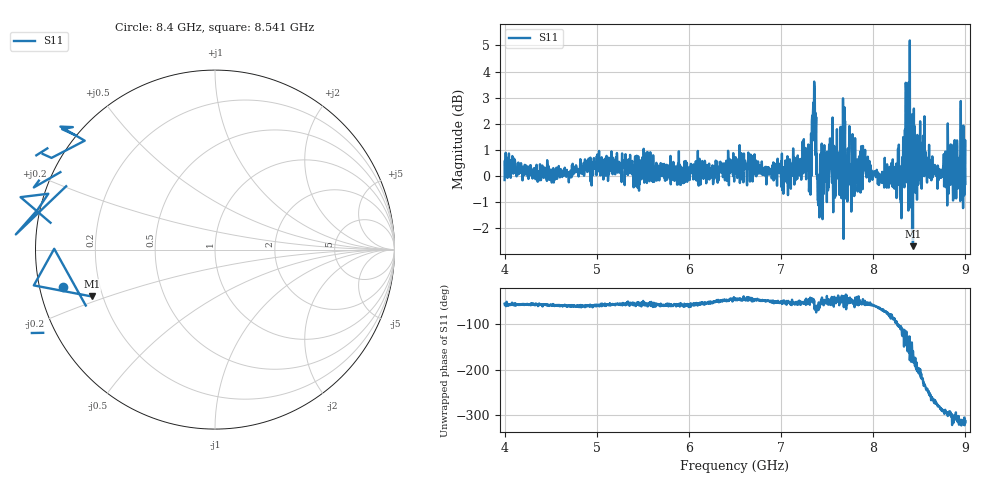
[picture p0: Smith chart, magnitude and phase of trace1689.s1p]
! Created with skrf 1.8.0 (http://scikit-rf.org).
# Hz S RI R 50.0
!freq ReS11 ImS11
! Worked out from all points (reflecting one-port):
!   1601 points, 4 GHz to 9 GHz, reference 50 ohm
!   lowest |S11| = -2.7 dB at 8.431 GHz (marker M1), VSWR 6.53, Z = 7.91 - j8.97 ohm
!   phase of S11 starts at -56 deg and turns -257 deg over the sweep
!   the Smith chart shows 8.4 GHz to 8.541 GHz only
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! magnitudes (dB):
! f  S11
! 4 GHz  -0.2
! 4.062 GHz  0.4
! 4.625 GHz  0.0
! 5.25 GHz  0.2
! 5.875 GHz  0.1
! 6.5 GHz  0.3
! 7.125 GHz  0.1
! 7.297 GHz  0.3
! 7.359 GHz  3.6
! 7.409 GHz  -0.2
! 7.538 GHz  0.5
! 7.591 GHz  0.4
! 7.669 GHz  0.1
! 7.703 GHz  0.1
! 7.75 GHz  0.1
! 7.769 GHz  -0.2
! 7.894 GHz  0.2
! 8.075 GHz  -0.1
! 8.312 GHz  0.2
! 8.334 GHz  -0.3
! 8.375 GHz  1.3
! 8.431 GHz  -2.7
! 8.447 GHz  1.9
! 8.459 GHz  -0.6
! 8.522 GHz  0.4
! 8.722 GHz  0.1
! 8.956 GHz  0.0
! 9 GHz  -0.3
